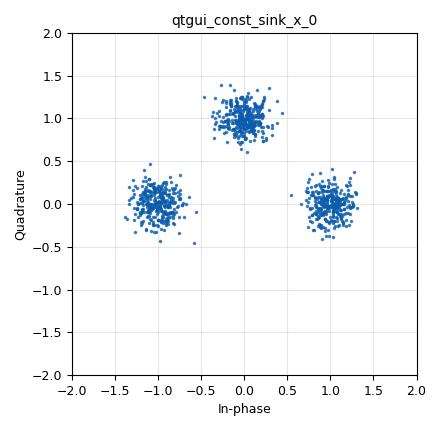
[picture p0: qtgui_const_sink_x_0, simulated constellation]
options:
  parameters:
    generate_options: qt_gui
    id: qpsk_sdr_simulation
    output_language: python
    title: QPSK SDR Simulation
  states: {}

blocks:
- name: samp_rate
  id: variable
  parameters:
    value: '32000'
  states: {}
- name: analog_random_source_x_0
  id: analog_random_source_x
  parameters:
    max: '3'
    min: '0'
    num_samps: '1000'
    repeat: 'True'
    type: byte
  states: {}
- name: blocks_throttle_0
  id: blocks_throttle
  parameters:
    samples_per_second: samp_rate
    type: complex
  states: {}
- name: channels_channel_model_0
  id: channels_channel_model
  parameters:
    epsilon: '1.0'
    freq_offset: '0.0'
    noise_voltage: '0.2'
    seed: '42'
    taps: 1.0 + 0j
  states: {}
- name: digital_chunks_to_symbols_xx_0
  id: digital_chunks_to_symbols_xx
  parameters:
    dimension: '1'
    in_type: byte
    out_type: complex
    symbol_table: '[1+0j, 0+1j, -1+0j, 0-1j]'
  states: {}
- name: qtgui_const_sink_x_0
  id: qtgui_const_sink_x
  parameters:
    size: '1024'
    type: complex
  states: {}

connections:
- [analog_random_source_x_0, '0', digital_chunks_to_symbols_xx_0, '0']
- [blocks_throttle_0, '0', channels_channel_model_0, '0']
- [channels_channel_model_0, '0', qtgui_const_sink_x_0, '0']
- [digital_chunks_to_symbols_xx_0, '0', blocks_throttle_0, '0']

metadata:
  file_format: 1
